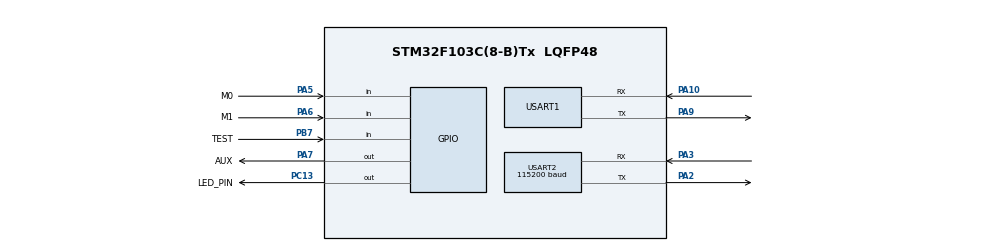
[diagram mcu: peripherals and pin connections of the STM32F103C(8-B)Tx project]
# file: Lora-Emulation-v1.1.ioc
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Mcu.Family=STM32F1
Mcu.Name=STM32F103C(8-B)Tx
Mcu.Package=LQFP48
NVIC.PriorityGroup=NVIC_PRIORITYGROUP_4
NVIC.TIM1_UP_IRQn=true\:15\:0\:false\:false\:true\:false\:true\:true
NVIC.TimeBase=TIM1_UP_IRQn
NVIC.TimeBaseIP=TIM1
NVIC.USART1_IRQn=true\:0\:0\:false\:false\:true\:true\:true\:true
NVIC.USART2_IRQn=true\:0\:0\:false\:false\:true\:true\:true\:true
PA10.Mode=Asynchronous
PA10.Signal=USART1_RX
PA13.Mode=Serial_Wire
PA13.Signal=SYS_JTMS-SWDIO
PA14.Mode=Serial_Wire
PA14.Signal=SYS_JTCK-SWCLK
PA2.Mode=Asynchronous
PA2.Signal=USART2_TX
PA3.Mode=Asynchronous
PA3.Signal=USART2_RX
PA5.GPIO_Label=M0
PA5.GPIO_PuPd=GPIO_PULLUP
PA5.Signal=GPIO_Input
PA6.GPIO_Label=M1
PA6.GPIO_PuPd=GPIO_PULLUP
PA6.Signal=GPIO_Input
PA7.GPIO_Label=AUX
PA7.Signal=GPIO_Output
PA9.Mode=Asynchronous
PA9.Signal=USART1_TX
PB7.GPIO_Label=TEST
PB7.Signal=GPIO_Input
PC13-TAMPER-RTC.GPIO_Label=LED_PIN
PC13-TAMPER-RTC.GPIO_PuPd=GPIO_PULLDOWN
PC13-TAMPER-RTC.PinState=GPIO_PIN_SET
PC13-TAMPER-RTC.Signal=GPIO_Output
PD0-OSC_IN.Mode=HSE-External-Oscillator
PD0-OSC_IN.Signal=RCC_OSC_IN
PD1-OSC_OUT.Mode=HSE-External-Oscillator
PD1-OSC_OUT.Signal=RCC_OSC_OUT
ProjectManager.HeapSize=0x200
ProjectManager.StackSize=0x400
ProjectManager.TargetToolchain=STM32CubeIDE
RCC.APB1Freq_Value=8000000
RCC.APB2Freq_Value=8000000
USART1.VirtualMode=VM_ASYNC
USART2.BaudRate=115200
USART2.VirtualMode=VM_ASYNC
VP_SYS_VS_tim1.Mode=TIM1
board=custom

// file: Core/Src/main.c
/* USER CODE BEGIN Header */
/**
  ******************************************************************************
  * @file           : main.c
  * @brief          : Main program body
  ******************************************************************************
  * @attention
  *
  * Copyright (c) 2023 STMicroelectronics.
  * All rights reserved.
  *
  * This software is licensed under terms that can be found in the LICENSE file
  * in the root directory of this software component.
  * If no LICENSE file comes with this software, it is provided AS-IS.
  *
  ******************************************************************************
  */
/* USER CODE END Header */
#include "main.h"

/* USER CODE BEGIN Includes */
#include "string.h"
#include "ring_buffer.h"
#include "scheduler.h"
#include "protocol.h"
#include "type.h"
#include "service.h"
/* USER CODE END Includes */

/* USER CODE BEGIN PTD */
#define RF				 0 // RF
#define NC				 1 // node controller
/* USER CODE END PTD */

/* USER CODE BEGIN PM */
__TYPE_CONFIG MODULE_CONFIG;

/* USER CODE END PM */

UART_HandleTypeDef huart1;
UART_HandleTypeDef huart2;

/* USER CODE BEGIN PV */
// data receive from rf
u8 idx1 = 0;
u8 rf_rx_payload;
u8 rf_rx_buf[LENGTH_RX_BUFFER] = {0};
Packet_t data_rx1[8];
ring_buffer_t ring_buf_rf = {
	.buffer = data_rx1,
	.buffer_mask = 7,
	.head_index = 0,
	.tail_index = 0,
};

// data receive from node controller
u8 idx2 = 0;
u8 nc_rx_payload;
Packet_t nc_rx_buf;
Packet_t data_rx2[8];
ring_buffer_t ring_buf_nc = {
	.buffer = data_rx2,
	.buffer_mask = 7,
	.head_index = 0,
	.tail_index = 0,
};

// variable pin
u8 M0;
u8 M1;
u8 AUX;

u8 cur_mode = NORMAL;
u8 pre_mode = NORMAL;
u8 test = 0;
u8 start1 = false;
u8 start2 = false;
/* USER CODE END PV */

void SystemClock_Config(void);
static void MX_GPIO_Init(void);
static void MX_USART1_UART_Init(void);
static void MX_USART2_UART_Init(void);
/* USER CODE BEGIN PFP */
void User_Init(void);
void readMode_Task();
void fakeData();

/* USER CODE END PFP */

/* USER CODE BEGIN 0 */
void Process_Rx_RF(void)
{
	if(!ring_buffer_is_empty(&ring_buf_rf)){
		Packet_t tmp;
		ring_buffer_dequeue(&ring_buf_rf, &tmp);
		switch(tmp.cmdWord)
		{
		case CONNECT: // blink led 3 s
			processConnect(tmp);
			break;
		case READ_CONFIG:
			processReadConfig(tmp);
			break;
		case CONFIG:
			processConfig(tmp);
			break;
		case CHANGE_MODE:
			processSendDataRF(tmp);
			break;
		case SEND_DATA:
			processSendDataNC(tmp);
			break;
		default:
			break;
		}
		// handle data received
	}
	return;
}
/* process data received from lora
 * on flag send data processed to node controller
 *
 * */
void Process_RX_Nc(void)
{
	if(!ring_buffer_is_empty(&ring_buf_nc)){
		Packet_t tmp;
		ring_buffer_dequeue(&ring_buf_nc, &tmp);
		processSendDataRF(tmp);
	}
	return;
}
/* USER CODE END 0 */

int main(void)
{

  /* MCU Configuration--------------------------------------------------------*/

  /* Reset of all peripherals, Initializes the Flash interface and the Systick. */
  HAL_Init();

  /* USER CODE BEGIN Init */
  User_Init();
  /* USER CODE END Init */

  /* Configure the system clock */
  SystemClock_Config();

  /* Initialize all configured peripherals */
  MX_GPIO_Init();
  MX_USART1_UART_Init();
  MX_USART2_UART_Init();
  /* USER CODE BEGIN 2 */
//  if(MODULE_CONFIG.baudrate != huart2.Init.BaudRate)
//  {
//	  Uart_SetBaudrate(MODULE_CONFIG.baudrate);
//  }
  char start1[]= "start RF!\n";
  char start2[]= "start UART!\n";
  HAL_UART_Transmit(&huart1, (uint8_t*)start1, 11, 1000);
  HAL_UART_Transmit(&huart2, (uint8_t*)start2, 13, 1000);
  HAL_UART_Receive_IT(&huart1, &rf_rx_payload, 1);
  HAL_UART_Receive_IT(&huart2, &nc_rx_payload, 1);
//  test = HAL_GPIO_ReadPin(TEST_GPIO_Port, TEST_Pin);
  /* USER CODE END 2 */

  /* Infinite loop */
  /* USER CODE BEGIN WHILE */
  while (1)
  {
	  readMode_Task();
	  Process_Rx_RF();
	  Process_RX_Nc();
//	  fakeData();
    /* USER CODE END WHILE */

  }
}

void SystemClock_Config(void)
{
  RCC_OscInitTypeDef RCC_OscInitStruct = {0};
  RCC_ClkInitTypeDef RCC_ClkInitStruct = {0};

  /** Initializes the RCC Oscillators according to the specified parameters
  * in the RCC_OscInitTypeDef structure.
  */
  RCC_OscInitStruct.OscillatorType = RCC_OSCILLATORTYPE_HSI;
  RCC_OscInitStruct.HSIState = RCC_HSI_ON;
  RCC_OscInitStruct.HSICalibrationValue = RCC_HSICALIBRATION_DEFAULT;
  RCC_OscInitStruct.PLL.PLLState = RCC_PLL_NONE;
  if (HAL_RCC_OscConfig(&RCC_OscInitStruct) != HAL_OK)
  {
    Error_Handler();
  }

  /** Initializes the CPU, AHB and APB buses clocks
  */
  RCC_ClkInitStruct.ClockType = RCC_CLOCKTYPE_HCLK|RCC_CLOCKTYPE_SYSCLK
                              |RCC_CLOCKTYPE_PCLK1|RCC_CLOCKTYPE_PCLK2;
  RCC_ClkInitStruct.SYSCLKSource = RCC_SYSCLKSOURCE_HSI;
  RCC_ClkInitStruct.AHBCLKDivider = RCC_SYSCLK_DIV1;
  RCC_ClkInitStruct.APB1CLKDivider = RCC_HCLK_DIV1;
  RCC_ClkInitStruct.APB2CLKDivider = RCC_HCLK_DIV1;

  if (HAL_RCC_ClockConfig(&RCC_ClkInitStruct, FLASH_LATENCY_0) != HAL_OK)
  {
    Error_Handler();
  }
}

static void MX_USART1_UART_Init(void)
{

  huart1.Instance = USART1;
  huart1.Init.BaudRate = 115200;
  huart1.Init.WordLength = UART_WORDLENGTH_8B;
  huart1.Init.StopBits = UART_STOPBITS_1;
  huart1.Init.Parity = UART_PARITY_NONE;
  huart1.Init.Mode = UART_MODE_TX_RX;
  huart1.Init.HwFlowCtl = UART_HWCONTROL_NONE;
  huart1.Init.OverSampling = UART_OVERSAMPLING_16;
  if (HAL_UART_Init(&huart1) != HAL_OK)
  {
    Error_Handler();
  }

}

static void MX_USART2_UART_Init(void)
{

  huart2.Instance = USART2;
  huart2.Init.BaudRate = 115200;
  huart2.Init.WordLength = UART_WORDLENGTH_8B;
  huart2.Init.StopBits = UART_STOPBITS_1;
  huart2.Init.Parity = UART_PARITY_NONE;
  huart2.Init.Mode = UART_MODE_TX_RX;
  huart2.Init.HwFlowCtl = UART_HWCONTROL_NONE;
  huart2.Init.OverSampling = UART_OVERSAMPLING_16;
  if (HAL_UART_Init(&huart2) != HAL_OK)
  {
    Error_Handler();
  }

}

static void MX_GPIO_Init(void)
{
  GPIO_InitTypeDef GPIO_InitStruct = {0};

  /* GPIO Ports Clock Enable */
  __HAL_RCC_GPIOC_CLK_ENABLE();
  __HAL_RCC_GPIOD_CLK_ENABLE();
  __HAL_RCC_GPIOA_CLK_ENABLE();
  __HAL_RCC_GPIOB_CLK_ENABLE();

  /*Configure GPIO pin Output Level */
  HAL_GPIO_WritePin(LED_PIN_GPIO_Port, LED_PIN_Pin, GPIO_PIN_SET);

  /*Configure GPIO pin Output Level */
  HAL_GPIO_WritePin(AUX_GPIO_Port, AUX_Pin, GPIO_PIN_RESET);

  /*Configure GPIO pin : LED_PIN_Pin */
  GPIO_InitStruct.Pin = LED_PIN_Pin;
  GPIO_InitStruct.Mode = GPIO_MODE_OUTPUT_PP;
  GPIO_InitStruct.Pull = GPIO_PULLDOWN;
  GPIO_InitStruct.Speed = GPIO_SPEED_FREQ_LOW;
  HAL_GPIO_Init(LED_PIN_GPIO_Port, &GPIO_InitStruct);

  /*Configure GPIO pins : M0_Pin M1_Pin */
  GPIO_InitStruct.Pin = M0_Pin|M1_Pin;
  GPIO_InitStruct.Mode = GPIO_MODE_INPUT;
  GPIO_InitStruct.Pull = GPIO_PULLUP;
  HAL_GPIO_Init(GPIOA, &GPIO_InitStruct);

  /*Configure GPIO pin : AUX_Pin */
  GPIO_InitStruct.Pin = AUX_Pin;
  GPIO_InitStruct.Mode = GPIO_MODE_OUTPUT_PP;
  GPIO_InitStruct.Pull = GPIO_NOPULL;
  GPIO_InitStruct.Speed = GPIO_SPEED_FREQ_LOW;
  HAL_GPIO_Init(AUX_GPIO_Port, &GPIO_InitStruct);

  /*Configure GPIO pin : TEST_Pin */
  GPIO_InitStruct.Pin = TEST_Pin;
  GPIO_InitStruct.Mode = GPIO_MODE_INPUT;
  GPIO_InitStruct.Pull = GPIO_NOPULL;
  HAL_GPIO_Init(TEST_GPIO_Port, &GPIO_InitStruct);

}

/* USER CODE BEGIN 4 */
void User_Init(void)
{
	FLASH_read();
	nc_rx_buf.cmdWord = SEND_DATA;
	nc_rx_buf.module = MODULE_CONFIG.type;
}

void HAL_UART_RxCpltCallback(UART_HandleTypeDef *huart)
{
	HAL_UART_Receive_IT(&huart1, &rf_rx_payload, 1);
	HAL_UART_Receive_IT(&huart2, &nc_rx_payload, 1);
	if(huart->Instance == huart1.Instance)
	 {
//	   HAL_UART_Receive_IT(&huart1, &rf_rx_payload, 1);
	   rf_rx_buf[idx1++] = rf_rx_payload;
	   if(rf_rx_payload == BYTE_STOP || idx1 == LENGTH_BUFFER){ //0x23 ='#'
		   ring_buffer_queue(&ring_buf_rf,  *( Packet_t *) (rf_rx_buf));
		   idx1 = 0;
	   }
	 }
	if(huart->Instance == huart2.Instance)
	{
//		HAL_UART_Receive_IT(&huart2, &nc_rx_payload, 1);
		nc_rx_buf.data[idx2++] = nc_rx_payload;
		if(nc_rx_payload == BYTE_STOP || idx2 == LENGTH_BUFFER){ //0x23 ='#'
			// reset index va copy buffer vao ring buffer
			nc_rx_buf.module = MODULE_CONFIG.type;
			nc_rx_buf.cmdWord = SEND_DATA;
			nc_rx_buf.dataLength = idx2;
			idx2 = 0;
			ring_buffer_queue(&ring_buf_nc,  nc_rx_buf);
		}
	}
}

void readMode_Task()
{
	M0 = HAL_GPIO_ReadPin(GPIOA, M0_Pin);
	M1 = HAL_GPIO_ReadPin(GPIOA, M1_Pin);

	if(M0 == 0 && M1 == 0) cur_mode = NORMAL;
	if(M0 == 0 && M1 == 1) cur_mode = WAKE_UP;
	if(M0 == 1 && M1 == 0) cur_mode = POWER_SAVING;
	if(M0 == 1 && M1 == 1) cur_mode = SLEEP;

	if(pre_mode != cur_mode)
	{
		Packet_t packet = processChangeMode();
		ring_buffer_queue(&ring_buf_rf, packet);
		pre_mode = cur_mode;
	}
}
void fakeData()
{
	u8 tmp = test;
	test = HAL_GPIO_ReadPin(TEST_GPIO_Port, TEST_Pin);
	if(test != tmp)
	{
		Packet_t tmp;
		tmp.cmdWord = SEND_DATA;
		tmp.module = MODULE_CONFIG.type;
		tmp.dataLength = 3;
		tmp.data[0] = 0x01;
		tmp.data[1] = 0x02;
		tmp.data[2] = 0x03;
		tmp.data[3] = 0x23;
		processSendDataRF(tmp);
	}

}
/* USER CODE END 4 */

void HAL_TIM_PeriodElapsedCallback(TIM_HandleTypeDef *htim)
{
  if (htim->Instance == TIM1) {
    HAL_IncTick();
  }
}

void Error_Handler(void)
{
  __disable_irq();
  while (1)
  {
  }
}
